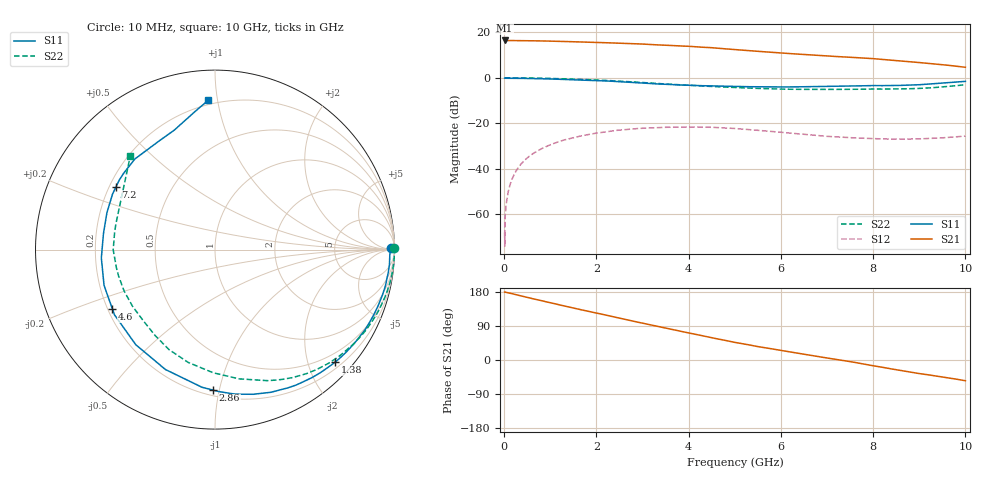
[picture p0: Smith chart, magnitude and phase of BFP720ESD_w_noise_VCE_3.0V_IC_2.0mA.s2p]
! Infineon Technologies  Discrete & RF Semiconductors
! BFP720ESD
! VCE =  3.0 V,  IC =  2.0 mA
! Common Emitter S-Parameters:  Jan 2016
# GHz  S  MA  R  50
!  f  S11  S21  S12  S22
! GHz  MAG  ANG  MAG  ANG  MAG  ANG  MAG  ANG
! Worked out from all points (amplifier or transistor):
!   233 points, 10 MHz to 10 GHz, reference 50 ohm
!   highest |S21| = 16.4 dB at 10 MHz (marker M1)
!   |S21| within 3 dB of that: start of sweep to 4.321 GHz
!   unconditionally stable (mu >= 1): 6.92 GHz to 9.688 GHz
!   at 200 MHz: K = 0.03, MSG = 29.8 dB, |S12| = -43.2 dB
!   at 1.74 GHz: K = 0.17, MSG = 20.5 dB, |S12| = -25.3 dB
!   at 10 GHz: K = 0.71, MSG = 15.1 dB, |S12| = -25.6 dB
!   lowest NFmin = 0.53 dB at 450 MHz
!   S11 on the Smith chart (normalised r, x): 10 MHz: open; 1.38 GHz: 0.32, -2.50; 2.86 GHz: 0.24, -0.96; 4.6 GHz: 0.22, -0.26; 7.2 GHz: 0.23, +0.27; 10 GHz: 0.17, +0.94
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0.01  0.9822 0.5  6.599 179.1  0.0004 -98.7  0.9998 0.6
0.015  0.9801 0.0  6.556 179.2  0.0002 85.3  0.9984 0.2
0.02  0.978 -0.5  6.514 179.3  0.0008 83.3  0.997 -0.2
0.025  0.9774 -0.6  6.514 179.1  0.001 82.9  0.9974 -0.3
0.09  0.9744 -2.7  6.549 177.3  0.0032 87.0  0.9996 -2.0
0.3  0.9714 -9.3  6.561 171.1  0.0104 82.7  0.9966 -6.9
0.7  0.9576 -21.7  6.487 159.6  0.0241 72.9  0.9826 -16.0
1.38  0.9167 -43.1  6.233 140.5  0.0451 56.6  0.942 -31.5
1.68  0.8955 -52.4  6.111 132.3  0.0531 49.7  0.9199 -38.3
2.38  0.8355 -74.4  5.813 113.7  0.0688 34.3  0.8574 -53.8
2.86  0.7834 -90.7  5.574 100.8  0.0764 23.7  0.8025 -64.9
3.4  0.727 -108.9  5.242 86.7  0.0808 12.3  0.7412 -77.0
4  0.6896 -129.8  4.916 71.4  0.083 1.0  0.6861 -90.9
4.6  0.6604 -149.9  4.483 56.3  0.0807 -9.9  0.6374 -105.6
5.1  0.6437 -164.8  4.097 44.4  0.0756 -17.7  0.6059 -116.6
6  0.6278 171.8  3.514 25.2  0.0633 -27.1  0.5631 -135.0
6.8  0.642 155.3  3.097 9.4  0.0539 -28.8  0.5549 -151.6
7.2  0.6528 147.8  2.93 1.6  0.0503 -27.8  0.555 -160.1
8  0.6739 131.4  2.632 -15.2  0.0461 -23.7  0.5672 -179.9
8.4  0.6741 121.9  2.43 -23.6  0.0449 -20.5  0.5673 170.4
9  0.7033 108.8  2.158 -35.8  0.0455 -15.1  0.5839 155.5
10  0.8339 92.5  1.699 -54.7  0.0524 -10.4  0.7028 132.2
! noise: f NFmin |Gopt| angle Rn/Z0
0.45  0.53  0.7  6  0.25
0.9  0.56  0.68  14  0.24
1.9  0.65  0.62  37  0.22
2.4  0.73  0.59  45  0.21
5.5  1.15  0.34  129  0.11
10  2.25  0.63  -104  0.6
